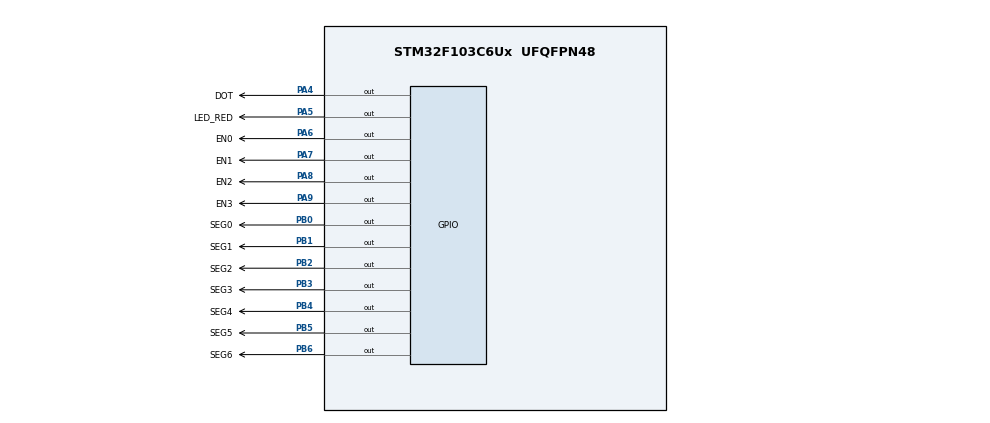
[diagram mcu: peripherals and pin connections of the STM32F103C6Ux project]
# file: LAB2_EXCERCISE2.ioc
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Mcu.Family=STM32F1
Mcu.Name=STM32F103C6Ux
Mcu.Package=UFQFPN48
NVIC.PriorityGroup=NVIC_PRIORITYGROUP_4
NVIC.TIM2_IRQn=true\:0\:0\:false\:false\:true\:true\:true
PA4.GPIO_Label=DOT
PA4.Signal=GPIO_Output
PA5.GPIO_Label=LED_RED
PA5.Signal=GPIO_Output
PA6.GPIO_Label=EN0
PA6.Signal=GPIO_Output
PA7.GPIO_Label=EN1
PA7.Signal=GPIO_Output
PA8.GPIO_Label=EN2
PA8.Signal=GPIO_Output
PA9.GPIO_Label=EN3
PA9.Signal=GPIO_Output
PB0.GPIO_Label=SEG0
PB0.Signal=GPIO_Output
PB1.GPIO_Label=SEG1
PB1.Signal=GPIO_Output
PB2.GPIO_Label=SEG2
PB2.Signal=GPIO_Output
PB3.GPIO_Label=SEG3
PB3.Signal=GPIO_Output
PB4.GPIO_Label=SEG4
PB4.Signal=GPIO_Output
PB5.GPIO_Label=SEG5
PB5.Signal=GPIO_Output
PB6.GPIO_Label=SEG6
PB6.Signal=GPIO_Output
ProjectManager.HeapSize=0x200
ProjectManager.StackSize=0x400
ProjectManager.TargetToolchain=STM32CubeIDE
RCC.APB1Freq_Value=8000000
RCC.APB2Freq_Value=8000000
TIM2.Period=9
TIM2.Prescaler=7999
VP_SYS_VS_ND.Mode=No_Debug
VP_TIM2_VS_ClockSourceINT.Mode=Internal
board=custom

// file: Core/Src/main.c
/* USER CODE BEGIN Header */
/**
  ******************************************************************************
  * @file           : main.c
  * @brief          : Main program body
  ******************************************************************************
  * @attention
  *
  * <h2><center>&copy; Copyright (c) 2025 STMicroelectronics.
  * All rights reserved.</center></h2>
  *
  * This software component is licensed by ST under BSD 3-Clause license,
  * the "License"; You may not use this file except in compliance with the
  * License. You may obtain a copy of the License at:
  *                        opensource.org/licenses/BSD-3-Clause
  *
  ******************************************************************************
  */
/* USER CODE END Header */
#include "main.h"

TIM_HandleTypeDef htim2;

/* USER CODE BEGIN PV */

void display7SEG(int num) {
    switch (num) {
        case 0:
            HAL_GPIO_WritePin(GPIOB, SEG0_Pin, RESET);
            HAL_GPIO_WritePin(GPIOB, SEG1_Pin, RESET);
            HAL_GPIO_WritePin(GPIOB, SEG2_Pin, RESET);
            HAL_GPIO_WritePin(GPIOB, SEG3_Pin, RESET);
            HAL_GPIO_WritePin(GPIOB, SEG4_Pin, RESET);
            HAL_GPIO_WritePin(GPIOB, SEG5_Pin, RESET);
            HAL_GPIO_WritePin(GPIOB, SEG6_Pin, SET);  // g = off
            break;

        case 1:
            HAL_GPIO_WritePin(GPIOB, SEG0_Pin, SET);
            HAL_GPIO_WritePin(GPIOB, SEG1_Pin, RESET);
            HAL_GPIO_WritePin(GPIOB, SEG2_Pin, RESET);
            HAL_GPIO_WritePin(GPIOB, SEG3_Pin, SET);
            HAL_GPIO_WritePin(GPIOB, SEG4_Pin, SET);
            HAL_GPIO_WritePin(GPIOB, SEG5_Pin, SET);
            HAL_GPIO_WritePin(GPIOB, SEG6_Pin, SET);
            break;

        case 2:
            HAL_GPIO_WritePin(GPIOB, SEG0_Pin, RESET);
            HAL_GPIO_WritePin(GPIOB, SEG1_Pin, RESET);
            HAL_GPIO_WritePin(GPIOB, SEG2_Pin, SET);
            HAL_GPIO_WritePin(GPIOB, SEG3_Pin, RESET);
            HAL_GPIO_WritePin(GPIOB, SEG4_Pin, RESET);
            HAL_GPIO_WritePin(GPIOB, SEG5_Pin, SET);
            HAL_GPIO_WritePin(GPIOB, SEG6_Pin, RESET);
            break;

        case 3:
            HAL_GPIO_WritePin(GPIOB, SEG0_Pin, RESET);
            HAL_GPIO_WritePin(GPIOB, SEG1_Pin, RESET);
            HAL_GPIO_WritePin(GPIOB, SEG2_Pin, RESET);
            HAL_GPIO_WritePin(GPIOB, SEG3_Pin, RESET);
            HAL_GPIO_WritePin(GPIOB, SEG4_Pin, SET);
            HAL_GPIO_WritePin(GPIOB, SEG5_Pin, SET);
            HAL_GPIO_WritePin(GPIOB, SEG6_Pin, RESET);
            break;

        case 4:
            HAL_GPIO_WritePin(GPIOB, SEG0_Pin, SET);
            HAL_GPIO_WritePin(GPIOB, SEG1_Pin, RESET);
            HAL_GPIO_WritePin(GPIOB, SEG2_Pin, RESET);
            HAL_GPIO_WritePin(GPIOB, SEG3_Pin, SET);
            HAL_GPIO_WritePin(GPIOB, SEG4_Pin, SET);
            HAL_GPIO_WritePin(GPIOB, SEG5_Pin, RESET);
            HAL_GPIO_WritePin(GPIOB, SEG6_Pin, RESET);
            break;

        case 5:
            HAL_GPIO_WritePin(GPIOB, SEG0_Pin, RESET);
            HAL_GPIO_WritePin(GPIOB, SEG1_Pin, SET);
            HAL_GPIO_WritePin(GPIOB, SEG2_Pin, RESET);
            HAL_GPIO_WritePin(GPIOB, SEG3_Pin, RESET);
            HAL_GPIO_WritePin(GPIOB, SEG4_Pin, SET);
            HAL_GPIO_WritePin(GPIOB, SEG5_Pin, RESET);
            HAL_GPIO_WritePin(GPIOB, SEG6_Pin, RESET);
            break;

        case 6:
            HAL_GPIO_WritePin(GPIOB, SEG0_Pin, RESET);
            HAL_GPIO_WritePin(GPIOB, SEG1_Pin, SET);
            HAL_GPIO_WritePin(GPIOB, SEG2_Pin, RESET);
            HAL_GPIO_WritePin(GPIOB, SEG3_Pin, RESET);
            HAL_GPIO_WritePin(GPIOB, SEG4_Pin, RESET);
            HAL_GPIO_WritePin(GPIOB, SEG5_Pin, RESET);
            HAL_GPIO_WritePin(GPIOB, SEG6_Pin, RESET);
            break;

        case 7:
            HAL_GPIO_WritePin(GPIOB, SEG0_Pin, RESET);
            HAL_GPIO_WritePin(GPIOB, SEG1_Pin, RESET);
            HAL_GPIO_WritePin(GPIOB, SEG2_Pin, RESET);
            HAL_GPIO_WritePin(GPIOB, SEG3_Pin, SET);
            HAL_GPIO_WritePin(GPIOB, SEG4_Pin, SET);
            HAL_GPIO_WritePin(GPIOB, SEG5_Pin, SET);
            HAL_GPIO_WritePin(GPIOB, SEG6_Pin, SET);
            break;

        case 8:
            HAL_GPIO_WritePin(GPIOB, SEG0_Pin, RESET);
            HAL_GPIO_WritePin(GPIOB, SEG1_Pin, RESET);
            HAL_GPIO_WritePin(GPIOB, SEG2_Pin, RESET);
            HAL_GPIO_WritePin(GPIOB, SEG3_Pin, RESET);
            HAL_GPIO_WritePin(GPIOB, SEG4_Pin, RESET);
            HAL_GPIO_WritePin(GPIOB, SEG5_Pin, RESET);
            HAL_GPIO_WritePin(GPIOB, SEG6_Pin, RESET);
            break;

        case 9:
            HAL_GPIO_WritePin(GPIOB, SEG0_Pin, RESET);
            HAL_GPIO_WritePin(GPIOB, SEG1_Pin, RESET);
            HAL_GPIO_WritePin(GPIOB, SEG2_Pin, RESET);
            HAL_GPIO_WritePin(GPIOB, SEG3_Pin, RESET);
            HAL_GPIO_WritePin(GPIOB, SEG4_Pin, SET);
            HAL_GPIO_WritePin(GPIOB, SEG5_Pin, RESET);
            HAL_GPIO_WritePin(GPIOB, SEG6_Pin, RESET);
            break;

        default:
            HAL_GPIO_WritePin(GPIOB, SEG0_Pin|SEG1_Pin|SEG2_Pin|
                                       SEG3_Pin|SEG4_Pin|SEG5_Pin|SEG6_Pin, SET);
            break;
    }
}
/* USER CODE END PV */

void SystemClock_Config(void);
static void MX_GPIO_Init(void);
static void MX_TIM2_Init(void);

int main(void)
{

  /* MCU Configuration--------------------------------------------------------*/

  /* Reset of all peripherals, Initializes the Flash interface and the Systick. */
  HAL_Init();

  /* Configure the system clock */
  SystemClock_Config();

  /* Initialize all configured peripherals */
  MX_GPIO_Init();
  MX_TIM2_Init();
  /* USER CODE BEGIN 2 */
  HAL_TIM_Base_Start_IT(&htim2);
  /* USER CODE END 2 */

  /* Infinite loop */
  while (1)
  {

  }
}

void SystemClock_Config(void)
{
  RCC_OscInitTypeDef RCC_OscInitStruct = {0};
  RCC_ClkInitTypeDef RCC_ClkInitStruct = {0};

  /** Initializes the RCC Oscillators according to the specified parameters
  * in the RCC_OscInitTypeDef structure.
  */
  RCC_OscInitStruct.OscillatorType = RCC_OSCILLATORTYPE_HSI;
  RCC_OscInitStruct.HSIState = RCC_HSI_ON;
  RCC_OscInitStruct.HSICalibrationValue = RCC_HSICALIBRATION_DEFAULT;
  RCC_OscInitStruct.PLL.PLLState = RCC_PLL_NONE;
  if (HAL_RCC_OscConfig(&RCC_OscInitStruct) != HAL_OK)
  {
    Error_Handler();
  }
  /** Initializes the CPU, AHB and APB buses clocks
  */
  RCC_ClkInitStruct.ClockType = RCC_CLOCKTYPE_HCLK|RCC_CLOCKTYPE_SYSCLK
                              |RCC_CLOCKTYPE_PCLK1|RCC_CLOCKTYPE_PCLK2;
  RCC_ClkInitStruct.SYSCLKSource = RCC_SYSCLKSOURCE_HSI;
  RCC_ClkInitStruct.AHBCLKDivider = RCC_SYSCLK_DIV1;
  RCC_ClkInitStruct.APB1CLKDivider = RCC_HCLK_DIV1;
  RCC_ClkInitStruct.APB2CLKDivider = RCC_HCLK_DIV1;

  if (HAL_RCC_ClockConfig(&RCC_ClkInitStruct, FLASH_LATENCY_0) != HAL_OK)
  {
    Error_Handler();
  }
}

static void MX_TIM2_Init(void)
{

  TIM_ClockConfigTypeDef sClockSourceConfig = {0};
  TIM_MasterConfigTypeDef sMasterConfig = {0};

  htim2.Instance = TIM2;
  htim2.Init.Prescaler = 7999;
  htim2.Init.CounterMode = TIM_COUNTERMODE_UP;
  htim2.Init.Period = 9;
  htim2.Init.ClockDivision = TIM_CLOCKDIVISION_DIV1;
  htim2.Init.AutoReloadPreload = TIM_AUTORELOAD_PRELOAD_DISABLE;
  if (HAL_TIM_Base_Init(&htim2) != HAL_OK)
  {
    Error_Handler();
  }
  sClockSourceConfig.ClockSource = TIM_CLOCKSOURCE_INTERNAL;
  if (HAL_TIM_ConfigClockSource(&htim2, &sClockSourceConfig) != HAL_OK)
  {
    Error_Handler();
  }
  sMasterConfig.MasterOutputTrigger = TIM_TRGO_RESET;
  sMasterConfig.MasterSlaveMode = TIM_MASTERSLAVEMODE_DISABLE;
  if (HAL_TIMEx_MasterConfigSynchronization(&htim2, &sMasterConfig) != HAL_OK)
  {
    Error_Handler();
  }

}

static void MX_GPIO_Init(void)
{
  GPIO_InitTypeDef GPIO_InitStruct = {0};

  /* GPIO Ports Clock Enable */
  __HAL_RCC_GPIOA_CLK_ENABLE();
  __HAL_RCC_GPIOB_CLK_ENABLE();

  /*Configure GPIO pin Output Level */
  HAL_GPIO_WritePin(GPIOA, DOT_Pin|LED_RED_Pin|EN0_Pin|EN1_Pin
                          |EN2_Pin|EN3_Pin, GPIO_PIN_RESET);

  /*Configure GPIO pin Output Level */
  HAL_GPIO_WritePin(GPIOB, SEG0_Pin|SEG1_Pin|SEG2_Pin|SEG3_Pin
                          |SEG4_Pin|SEG5_Pin|SEG6_Pin, GPIO_PIN_RESET);

  /*Configure GPIO pins : DOT_Pin LED_RED_Pin EN0_Pin EN1_Pin
                           EN2_Pin EN3_Pin */
  GPIO_InitStruct.Pin = DOT_Pin|LED_RED_Pin|EN0_Pin|EN1_Pin
                          |EN2_Pin|EN3_Pin;
  GPIO_InitStruct.Mode = GPIO_MODE_OUTPUT_PP;
  GPIO_InitStruct.Pull = GPIO_NOPULL;
  GPIO_InitStruct.Speed = GPIO_SPEED_FREQ_LOW;
  HAL_GPIO_Init(GPIOA, &GPIO_InitStruct);

  /*Configure GPIO pins : SEG0_Pin SEG1_Pin SEG2_Pin SEG3_Pin
                           SEG4_Pin SEG5_Pin SEG6_Pin */
  GPIO_InitStruct.Pin = SEG0_Pin|SEG1_Pin|SEG2_Pin|SEG3_Pin
                          |SEG4_Pin|SEG5_Pin|SEG6_Pin;
  GPIO_InitStruct.Mode = GPIO_MODE_OUTPUT_PP;
  GPIO_InitStruct.Pull = GPIO_NOPULL;
  GPIO_InitStruct.Speed = GPIO_SPEED_FREQ_LOW;
  HAL_GPIO_Init(GPIOB, &GPIO_InitStruct);

}

/* USER CODE BEGIN 4 */
int counter1 = 200;
int counter2 = 100;
void HAL_TIM_PeriodElapsedCallback(TIM_HandleTypeDef * htim){
	if (counter1 > 0){
		counter1--;
		if (counter1 <= 0) counter1 = 200;
	}
	if (counter2 > 0){
		counter2--;
		if (counter2 <= 0) {
			counter2 = 100;
			HAL_GPIO_TogglePin(GPIOA, LED_RED_Pin);
			HAL_GPIO_TogglePin(GPIOA, DOT_Pin);
		}
	}
	if (counter1 > 150 && counter1 <=200){
		  HAL_GPIO_WritePin(GPIOA, EN0_Pin, RESET);
		  HAL_GPIO_WritePin(GPIOA, EN1_Pin, SET);
		  HAL_GPIO_WritePin(GPIOA, EN2_Pin, SET);
		  HAL_GPIO_WritePin(GPIOA, EN3_Pin, SET);
		  display7SEG(1);
	}
	if (counter1 > 100 && counter1 <= 150){
		  HAL_GPIO_WritePin(GPIOA, EN0_Pin, SET);
		  HAL_GPIO_WritePin(GPIOA, EN1_Pin, RESET);
		  HAL_GPIO_WritePin(GPIOA, EN2_Pin, SET);
		  HAL_GPIO_WritePin(GPIOA, EN3_Pin, SET);
		  display7SEG(2);
	}
	if (counter1 > 50 && counter1 <= 100){
		  HAL_GPIO_WritePin(GPIOA, EN0_Pin, SET);
		  HAL_GPIO_WritePin(GPIOA, EN1_Pin, SET);
		  HAL_GPIO_WritePin(GPIOA, EN2_Pin, RESET);
		  HAL_GPIO_WritePin(GPIOA, EN3_Pin, SET);
		  display7SEG(3);
	}
	if (counter1 <= 50){
		  HAL_GPIO_WritePin(GPIOA, EN0_Pin, SET);
		  HAL_GPIO_WritePin(GPIOA, EN1_Pin, SET);
		  HAL_GPIO_WritePin(GPIOA, EN2_Pin, SET);
		  HAL_GPIO_WritePin(GPIOA, EN3_Pin, RESET);
		  display7SEG(0);
	}

}
/* USER CODE END 4 */

void Error_Handler(void)
{
  __disable_irq();
  while (1)
  {
  }
}

/************************ (C) COPYRIGHT STMicroelectronics *****END OF FILE****/
